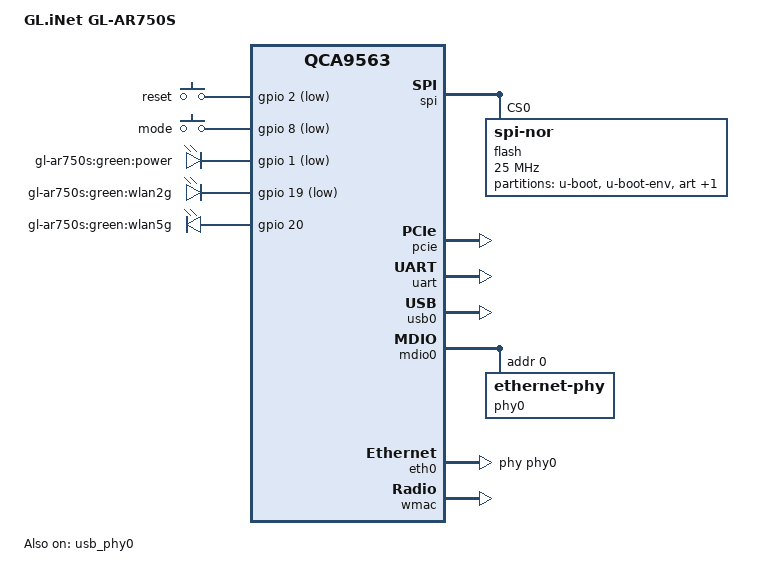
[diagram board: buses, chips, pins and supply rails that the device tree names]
// SPDX-License-Identifier: GPL-2.0-or-later OR MIT
/dts-v1/;

#include <dt-bindings/gpio/gpio.h>
#include <dt-bindings/input/input.h>

#include "qca956x.dtsi"

/ {
	compatible = "glinet,gl-ar750s", "qca,qca9563";
	model = "GL.iNet GL-AR750S";

	chosen {
		bootargs = "console=ttyS0,115200n8";
	};

	aliases {
		led-boot = &power;
		led-failsafe = &power;
		led-running = &power;
		led-upgrade = &power;
	};

	keys {
		compatible = "gpio-keys-polled";
		poll-interval = <20>;
		pinctrl-names = "default";
		pinctrl-0 = <&jtag_disable_pins>;

		reset {
			label = "reset";
			linux,code = <KEY_RESTART>;
			gpios = <&gpio 2 GPIO_ACTIVE_LOW>;
		};

		mode {
			label = "mode";
			linux,code = <BTN_0>;
			linux,input-type = <EV_SW>;
			gpios = <&gpio 8 GPIO_ACTIVE_LOW>;
		};
	};

	leds {
		compatible = "gpio-leds";

		power: power {
			label = "gl-ar750s:green:power";
			gpios = <&gpio 1 GPIO_ACTIVE_LOW>;
			default-state = "keep";
		};

		wlan2g {
			label = "gl-ar750s:green:wlan2g";
			gpios = <&gpio 19 GPIO_ACTIVE_LOW>;
			linux,default-trigger = "phy1tpt";
		};

		wlan5g {
			label = "gl-ar750s:green:wlan5g";
			gpios = <&gpio 20 GPIO_ACTIVE_HIGH>;
			linux,default-trigger = "phy0tpt";
		};
	};
};

&spi {
	status = "okay";
	num-cs = <0>;

	flash@0 {
		compatible = "jedec,spi-nor";
		reg = <0>;
		spi-max-frequency = <25000000>;

		partitions {
			compatible = "fixed-partitions";
			#address-cells = <1>;
			#size-cells = <1>;

			partition@0 {
				label = "u-boot";
				reg = <0x000000 0x040000>;
				read-only;
			};

			partition@40000 {
				label = "u-boot-env";
				reg = <0x040000 0x010000>;
			};

			art: partition@50000 {
				label = "art";
				reg = <0x050000 0x010000>;
			};

			partition@60000 {
				compatible = "denx,uimage";
				label = "firmware";
				reg = <0x060000 0xfa0000>;
			};
		};
	};
};

&pcie {
	status = "okay";
};

&uart {
	status = "okay";
};

&usb0 {
	#address-cells = <1>;
	#size-cells = <0>;
	status = "okay";

	hub_port: port@1 {
		reg = <1>;
		#trigger-source-cells = <0>;
	};
};

&usb_phy0 {
	status = "okay";
};

&mdio0 {
	status = "okay";
	phy-mask = <0>;

	phy0: ethernet-phy@0 {
		reg = <0>;
		phy-mode = "sgmii";
		qca,ar8327-initvals = <
			0x04 0x00080080 /* PORT0 PAD MODE CTRL */
			0x7c 0x0000007e /* PORT0_STATUS */
		>;
	};
};

&eth0 {
	status = "okay";

	mtd-mac-address = <&art 0x0>;
	phy-handle = <&phy0>;
};

&wmac {
	status = "okay";
	mtd-cal-data = <&art 0x1000>;
	mtd-mac-address = <&art 0x1002>;
};
